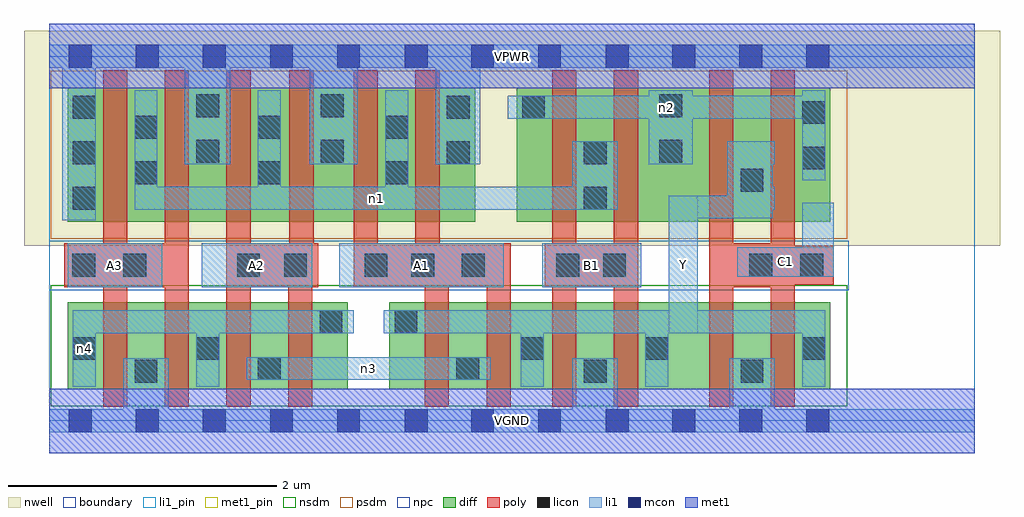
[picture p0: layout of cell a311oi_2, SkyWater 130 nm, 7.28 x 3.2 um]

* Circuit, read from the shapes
.subckt a311oi_2 A1 A2 A3 B1 C1 VGND VPWR Y n1 n2 n3 n4
XM1 VGND A3 n4 VSUBS sky130_fd_pr__nfet_01v8 w=0.65 l=0.18 m=2
XM2 n3 A2 n4 VSUBS sky130_fd_pr__nfet_01v8 w=0.65 l=0.18 m=2
XM3 n3 A1 Y VSUBS sky130_fd_pr__nfet_01v8 w=0.65 l=0.18 m=2
XM4 VGND B1 Y VSUBS sky130_fd_pr__nfet_01v8 w=0.65 l=0.18 m=2
XM5 VGND C1 Y VSUBS sky130_fd_pr__nfet_01v8 w=0.65 l=0.18 m=2
XM6 n1 A3 VPWR n5 sky130_fd_pr__pfet_01v8 w=1 l=0.18 m=2
XM7 n1 A2 VPWR n5 sky130_fd_pr__pfet_01v8 w=1 l=0.18 m=2
XM8 n1 A1 VPWR n5 sky130_fd_pr__pfet_01v8 w=1 l=0.18 m=2
XM9 n1 B1 n2 n5 sky130_fd_pr__pfet_01v8 w=1 l=0.18 m=2
XM10 Y C1 n2 n5 sky130_fd_pr__pfet_01v8 w=1 l=0.18 m=2
.ends

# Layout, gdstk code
import gdstk
lib = gdstk.Library(unit=1e-6, precision=1e-09)
def R(c, l, rs):  # rectangles x0, y0, x1, y1
    for r in rs: c.add(gdstk.rectangle(r[:2], r[2:], *l))
def A(c, l, x, y, w, h, nx, ny, dx, dy):  # array of equal rectangles
    R(c, l, [(x+i*dx, y+j*dy, x+i*dx+w, y+j*dy+h) for i in range(nx) for j in range(ny)])
nwell = (64, 20)
diff = (65, 20)
poly = (66, 20)
licon = (66, 44)
li1_pin = (67, 16)
li1 = (67, 20)
mcon = (67, 44)
met1_pin = (68, 16)
met1 = (68, 20)
nsdm = (93, 44)
psdm = (94, 20)
npc = (95, 20)
boundary = (235, 4)

a311oi_2 = lib.new_cell('a311oi_2')
R(a311oi_2, nwell, [(-0.19,1.305,7.09,2.91), (0,1.305,6.9,2.91)])
R(a311oi_2, diff, [(0.135,0.235,2.225,0.885), (2.535,0.235,5.825,0.885), (0.135,1.485,3.175,2.485), (3.485,1.485,5.825,2.485)])
A(a311oi_2, poly, 0.4, 0.105, 0.18, 2.51, 3, 1, 0.46, 0)
R(a311oi_2, poly, [(1.78,0.105,1.96,1.325), (2.8,0.105,2.98,1.325), (3.26,0.105,3.44,1.325), (3.75,0.105,3.93,2.615), (4.21,0.105,4.39,2.615), (4.92,0.105,5.1,2.615), (5.38,0.105,5.56,2.615), (0.11,0.995,1.04,1.325), (1.32,0.995,2.005,1.325), (1.79,0.995,1.97,2.615), (2.27,0.995,2.45,2.615), (2.27,0.995,3.44,1.325), (2.73,0.995,2.91,2.615), (3.695,0.995,4.39,1.325), (4.92,0.995,5.56,1.325), (4.92,1.015,5.85,1.305)])
A(a311oi_2, licon, 0.175, 1.575, 0.17, 0.17, 1, 3, 0, 0.34)
R(a311oi_2, licon, [(0.635,0.285,0.805,0.455), (3.985,0.285,4.155,0.455), (5.155,0.285,5.325,0.455), (1.555,0.305,1.725,0.475), (3.035,0.305,3.205,0.475), (0.175,0.455,0.345,0.625), (1.095,0.455,1.265,0.625), (3.515,0.455,3.685,0.625), (4.445,0.455,4.615,0.625), (5.615,0.455,5.785,0.625), (2.015,0.655,2.185,0.825), (2.575,0.655,2.745,0.825), (0.17,1.075,0.34,1.245), (0.55,1.075,0.72,1.245), (1.4,1.075,1.57,1.245), (1.75,1.075,1.92,1.245), (2.35,1.075,2.52,1.245), (2.7,1.075,2.87,1.245), (3.075,1.075,3.245,1.245), (3.78,1.075,3.95,1.245), (4.13,1.075,4.3,1.245), (5.22,1.075,5.39,1.245), (5.6,1.075,5.77,1.245), (3.985,1.575,4.155,1.745), (5.155,1.71,5.325,1.88), (0.635,1.765,0.805,1.935), (1.555,1.765,1.725,1.935), (2.505,1.765,2.675,1.935), (5.615,1.875,5.785,2.045), (2.965,1.915,3.135,2.085), (3.985,1.915,4.155,2.085), (1.095,1.925,1.265,2.095), (2.025,1.925,2.195,2.095), (4.55,1.925,4.72,2.095), (0.635,2.105,0.805,2.275), (1.555,2.105,1.725,2.275), (2.505,2.105,2.675,2.275), (5.615,2.215,5.785,2.385), (2.965,2.255,3.135,2.425), (3.525,2.255,3.695,2.425), (1.095,2.265,1.265,2.435), (2.025,2.265,2.195,2.435), (4.55,2.265,4.72,2.435)])
R(a311oi_2, li1_pin, [(4.62,0.655,4.835,1.68), (0.135,0.995,0.84,1.325), (1.135,0.995,1.96,1.325), (2.16,0.995,3.39,1.325), (3.675,0.995,4.415,1.325), (5.13,1.075,5.85,1.295)])
R(a311oi_2, li1, [(0,-0.085,6.9,0.085), (0.55,-0.085,0.89,0.465), (3.9,-0.085,4.24,0.465), (5.07,-0.085,5.41,0.465), (0.175,0.255,0.345,0.825), (1.095,0.255,1.265,0.825), (3.515,0.255,3.685,0.825), (4.445,0.255,4.615,0.825), (5.615,0.255,5.785,0.825), (1.47,0.305,3.29,0.475), (0.175,0.655,2.27,0.825), (2.495,0.655,5.785,0.825), (4.62,0.655,4.835,1.68), (0.135,0.995,0.84,1.325), (1.135,0.995,1.96,1.325), (2.16,0.995,3.39,1.325), (3.675,0.995,4.415,1.325), (5.13,1.075,5.85,1.295), (5.615,1.075,5.85,1.625), (0.095,1.495,0.345,2.805), (4.62,1.51,5.395,1.68), (5.055,1.51,5.395,2.085), (0.635,1.575,4.24,1.745), (0.635,1.575,0.805,2.465), (1.555,1.575,1.725,2.465), (2.505,1.575,2.675,2.465), (3.9,1.575,4.24,2.085), (5.055,1.575,5.41,1.745), (5.615,1.795,5.785,2.465), (1.01,1.915,1.35,2.805), (1.94,1.915,2.3,2.805), (2.88,1.915,3.215,2.805), (4.47,1.915,4.8,2.465), (5.055,1.915,5.41,2.085), (3.42,2.255,5.785,2.425), (0,2.635,6.9,2.805)])
A(a311oi_2, mcon, 0.145, -0.085, 0.17, 0.17, 5, 2, 0.5, 2.72)
A(a311oi_2, mcon, 4.645, -0.085, 0.17, 0.17, 3, 2, 0.5, 2.72)
R(a311oi_2, mcon, [(2.65,-0.085,2.82,0.085), (3.145,-0.085,3.315,0.085), (3.645,-0.085,3.815,0.085), (4.15,-0.085,4.32,0.085), (2.65,2.635,2.82,2.805), (3.145,2.635,3.315,2.805), (3.645,2.635,3.815,2.805), (4.15,2.635,4.32,2.805)])
R(a311oi_2, met1_pin, [(0,-0.24,6.9,0.24), (0,2.48,6.9,2.96)])
R(a311oi_2, met1, [(0,-0.24,6.9,0.24), (0,2.48,6.9,2.96)])
R(a311oi_2, nsdm, [(0.01,0.11,5.95,1.01)])
R(a311oi_2, psdm, [(0.01,1.36,5.95,2.61)])
R(a311oi_2, npc, [(0,0.975,5.96,1.345)])
R(a311oi_2, boundary, [(0,0,6.9,2.72)])
a311oi_2.add(gdstk.Label('A1', (2.775,1.16), layer=67, texttype=5))
a311oi_2.add(gdstk.Label('A2', (1.547,1.16), layer=67, texttype=5))
a311oi_2.add(gdstk.Label('A3', (0.487,1.16), layer=67, texttype=5))
a311oi_2.add(gdstk.Label('B1', (4.045,1.16), layer=67, texttype=5))
a311oi_2.add(gdstk.Label('C1', (5.49,1.185), layer=67, texttype=5))
a311oi_2.add(gdstk.Label('Y', (4.727,1.167), layer=67, texttype=5))
a311oi_2.add(gdstk.Label('n3', (2.38,0.39), layer=67, texttype=5))
a311oi_2.add(gdstk.Label('n4', (0.26,0.54), layer=67, texttype=5))
a311oi_2.add(gdstk.Label('n1', (2.437,1.66), layer=67, texttype=5))
a311oi_2.add(gdstk.Label('n2', (4.602,2.34), layer=67, texttype=5))
a311oi_2.add(gdstk.Label('VPWR', (3.45,2.72), layer=68, texttype=5))
a311oi_2.add(gdstk.Label('VGND', (3.45,0), layer=68, texttype=5))
a311oi_2.add(gdstk.Label('A1', (2.775,1.16), layer=67, texttype=16))
a311oi_2.add(gdstk.Label('A2', (1.547,1.16), layer=67, texttype=16))
a311oi_2.add(gdstk.Label('A3', (0.487,1.16), layer=67, texttype=16))
a311oi_2.add(gdstk.Label('B1', (4.045,1.16), layer=67, texttype=16))
a311oi_2.add(gdstk.Label('C1', (5.49,1.185), layer=67, texttype=16))
a311oi_2.add(gdstk.Label('Y', (4.727,1.167), layer=67, texttype=16))
a311oi_2.add(gdstk.Label('VPWR', (3.45,2.72), layer=68, texttype=16))
a311oi_2.add(gdstk.Label('VGND', (3.45,0), layer=68, texttype=16))

lib.write_gds('a311oi_2.gds')
